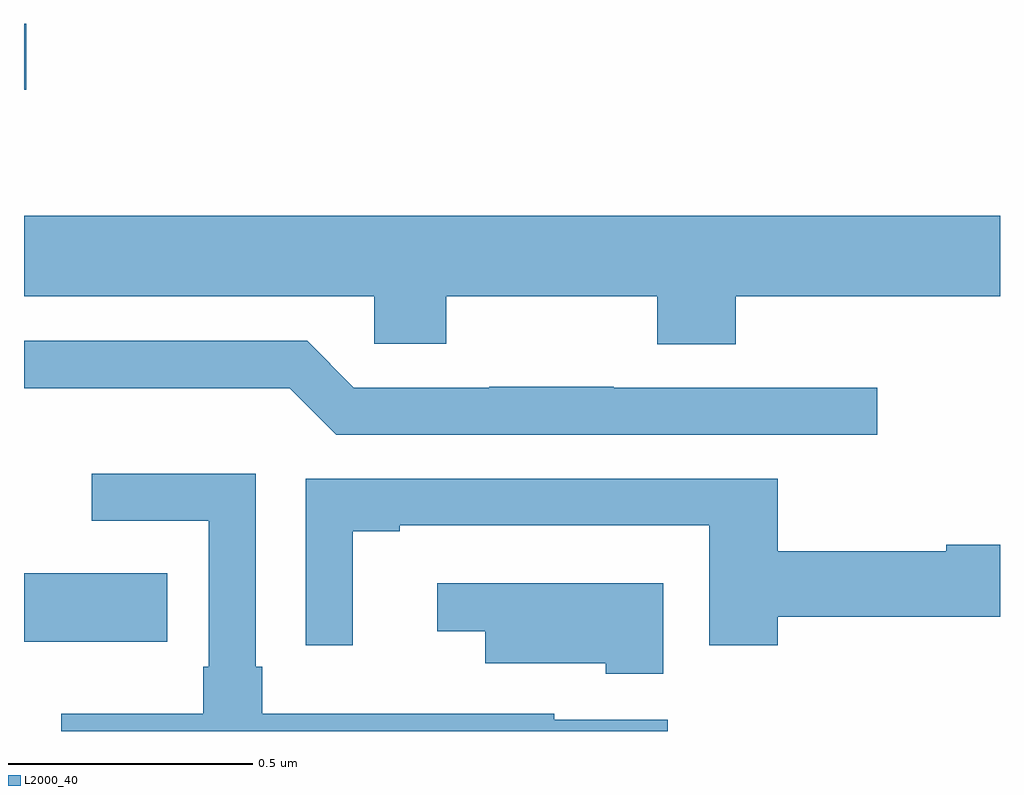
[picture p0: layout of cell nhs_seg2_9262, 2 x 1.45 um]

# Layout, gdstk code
import gdstk
lib = gdstk.Library(unit=1e-6, precision=1e-09)
def R(c, l, rs):  # rectangles x0, y0, x1, y1
    for r in rs: c.add(gdstk.rectangle(r[:2], r[2:], *l))
def P(c, l, *ps):  # polygons
    for p in ps: c.add(gdstk.Polygon(p, *l))
L2000_40 = (2000, 40)

nhs_seg2_9262 = lib.new_cell('nhs_seg2_9262')
R(nhs_seg2_9262, L2000_40, [(227,590.984,227.294,591.124), (227,592.115,227.005,592.25)])
P(nhs_seg2_9262, L2000_40, [(228.458,591.692),(229,591.692),(229,591.856),(227,591.856),(227,591.692),(227.718,591.692),(227.718,591.594),(227.865,591.594),(227.865,591.692),(228.298,591.692),(228.298,591.593),(228.458,591.593)],
  [(228.748,591.504),(228.209,591.504),(228.209,591.506),(227.953,591.506),(227.953,591.504),(227.676,591.504),(227.58,591.6),(227,591.6),(227,591.503),(227.545,591.503),(227.64,591.408),(228.748,591.408)],
  [(228.319,590.824),(228.087,590.824),(228.087,590.836),(227.488,590.836),(227.488,590.932),(227.475,590.932),(227.475,591.328),(227.139,591.328),(227.139,591.231),(227.379,591.231),(227.379,590.932),(227.367,590.932),(227.367,590.836),(227.076,590.836),(227.076,590.8),(228.319,590.8)],
  [(227.674,591.21),(227.77,591.21),(227.77,591.222),(228.404,591.222),(228.404,590.976),(228.545,590.976),(228.545,591.035),(229,591.035),(229,591.182),(228.89,591.182),(228.89,591.169),(228.545,591.169),(228.545,591.318),(227.577,591.318),(227.577,590.976),(227.674,590.976)],
  [(228.31,591.103),(227.847,591.103),(227.847,591.005),(227.945,591.005),(227.945,590.939),(228.192,590.939),(228.192,590.918),(228.31,590.918)])

lib.write_gds('nhs_seg2_9262.gds')
